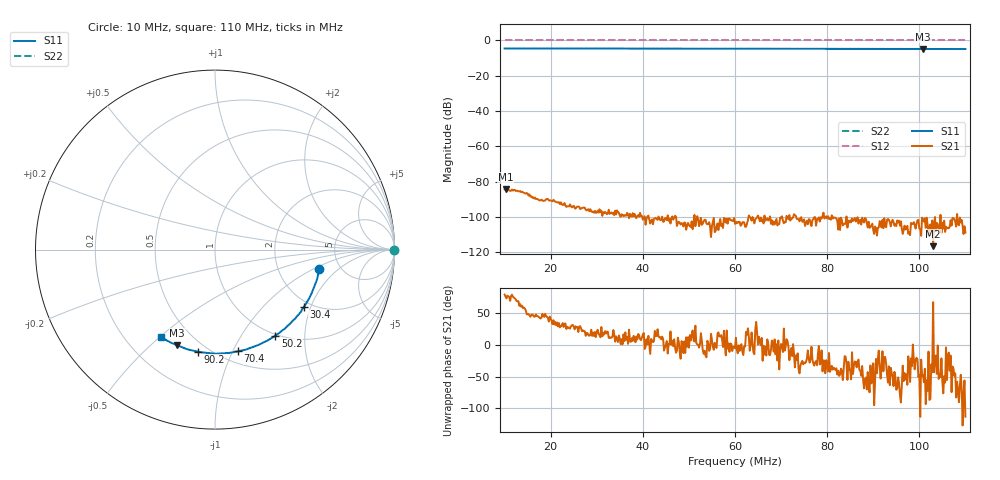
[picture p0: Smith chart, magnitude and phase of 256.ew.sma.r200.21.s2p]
! Anritsu VNA Master:  Model: MS2036C/10/77
! SN:  1601066
! /card0/usr/256.ew.sma.r200.21.s2p
! Existing Calibration Information:
! TYPE:  Current Settings,  Active Cal Settings
! TIME:  12/19/2017 02:44:04 PM,  12/19/2017 02:22:10 PM
! INTERNAL TEMP:  46.3 C,  45.0 C
! # POINTS:  501,  501
! START FREQ:  10.000 MHz,  10.000 MHz
! STOP FREQ:  110.000 MHz,  110.000 MHz
! SOURCE POWER:  High,  High
! IFBW:  100 Hz,  100 Hz
! AVG FACTOR:  1 ,  1
! REF PLANE 1:  0 mm,  0 mm
! REF PLANE 2:  0 mm,  0 mm
! CAL TYPE:  Full S11,  Full S11
! CAL METHOD:  SOLT,  SOLT
! CAL LINE TYPE:  Coax,  Coax
! DUT PORT 1:  N-Conn(F),  N-Conn(F)
! DUT PORT 2:  K-Conn(F),  K-Conn(F)
! CAL STATUS:  OK: Accuracy High,  --
# GHZ S DB R 50.0
! FREQ.GHZ  S11DB  S11A  S21DB  S21A  S12DB  S12A  S22DB  S22A
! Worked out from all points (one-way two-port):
!   501 points, 10 MHz to 110 MHz, reference 50 ohm
!   highest |S21| = -84.38 dB at 10.2 MHz (marker M1); lowest = -116.6 dB at 103 MHz (marker M2)
!   lowest |S11| = -4.9 dB at 100.8 MHz (marker M3), VSWR 3.67, Z = 19.2 - j30.4 ohm
!   |S11| at or under -10 dB: nowhere
!   |S22| runs from 0.0 to 0.0 dB; largest |S21 - S12| = 1
!   S11 on the Smith chart (normalised r, x): 10 MHz: 3.46, -1.17; 30.4 MHz: 1.82, -1.78; 50.2 MHz: 0.98, -1.43; 70.4 MHz: 0.61, -1.05; 90.2 MHz: 0.44, -0.75; 110 MHz: 0.35, -0.50
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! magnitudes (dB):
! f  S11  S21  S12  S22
! 10 MHz  -4.6  -84.6  0.0  0.0
! 10.2 MHz  -4.6  -84.4  0.0  0.0
! 14.8 MHz  -4.6  -86.5  0.0  0.0
! 26.8 MHz  -4.6  -95.0  0.0  0.0
! 30.4 MHz  -4.6  -97.6  0.0  0.0
! 33 MHz  -4.6  -97.8  0.0  0.0
! 35.6 MHz  -4.6  -98.8  0.0  0.0
! 37.2 MHz  -4.6  -98.3  0.0  0.0
! 38.8 MHz  -4.6  -99.4  0.0  0.0
! 40.6 MHz  -4.6  -104.5  0.0  0.0
! 43.4 MHz  -4.6  -99.9  0.0  0.0
! 50.2 MHz  -4.7  -105.3  0.0  0.0
! 60 MHz  -4.7  -104.0  0.0  0.0
! 70.4 MHz  -4.7  -102.2  0.0  0.0
! 76.8 MHz  -4.7  -101.8  0.0  0.0
! 81.4 MHz  -4.7  -100.4  0.0  0.0
! 90.2 MHz  -4.8  -109.7  0.0  0.0
! 93.4 MHz  -4.8  -101.7  0.0  0.0
! 95.8 MHz  -4.8  -105.0  0.0  0.0
! 100.8 MHz  -4.9  -101.8  0.0  0.0
! 103 MHz  -4.8  -116.6  0.0  0.0
! 110 MHz  -4.9  -108.9  0.0  0.0
